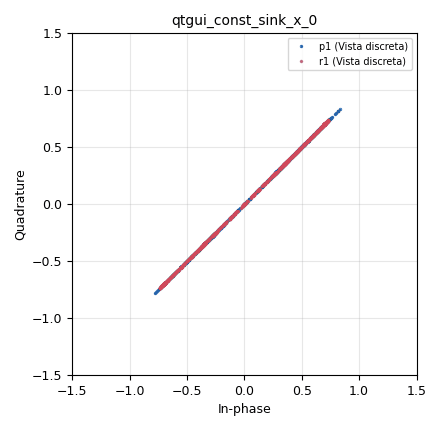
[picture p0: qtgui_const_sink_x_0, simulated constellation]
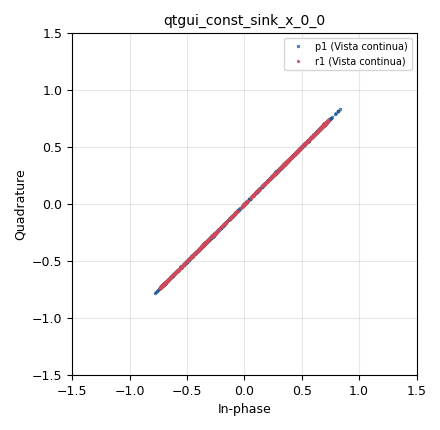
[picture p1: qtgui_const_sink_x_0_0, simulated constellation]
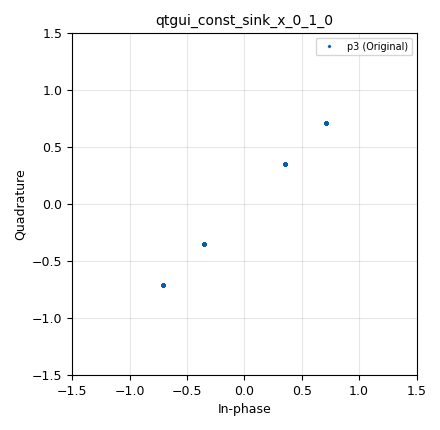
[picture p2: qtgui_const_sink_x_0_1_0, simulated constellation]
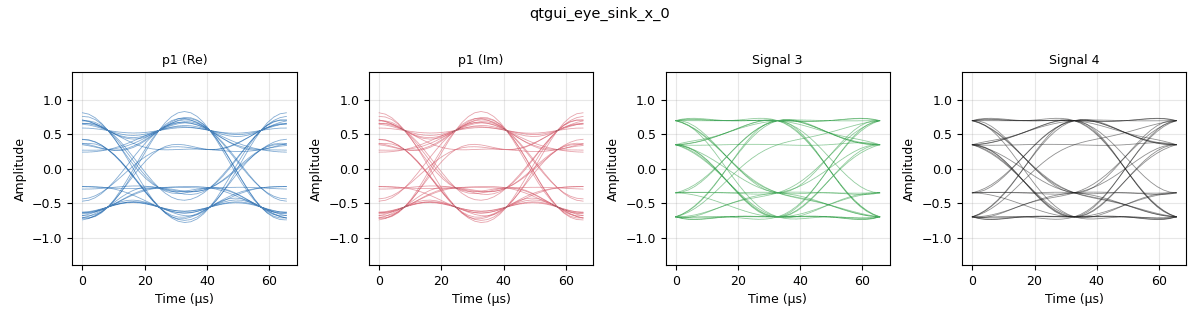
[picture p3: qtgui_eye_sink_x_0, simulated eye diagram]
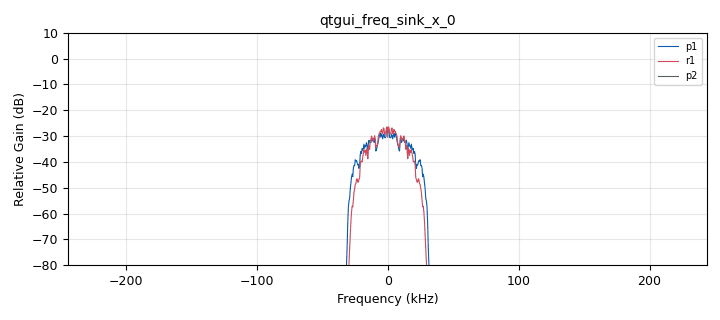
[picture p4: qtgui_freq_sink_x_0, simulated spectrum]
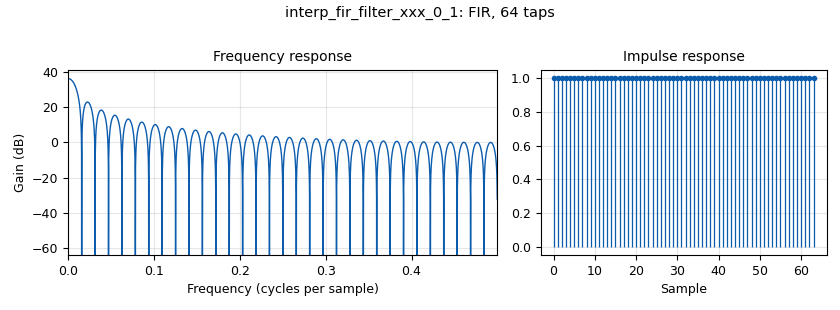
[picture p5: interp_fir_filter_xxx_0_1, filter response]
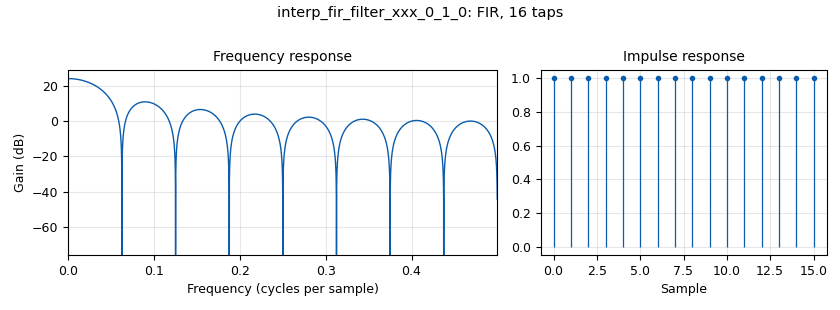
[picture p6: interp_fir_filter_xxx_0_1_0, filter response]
options:
  parameters:
    author: Homero Ortega Boada
    description: Lo máximo para practicar el tema de Filtro Coseno Alzado
    generate_options: qt_gui
    id: waveforming_practice
    output_language: python
    title: waveforming_practice
  states: {}

blocks:
- name: BW_filtro
  id: variable_qtgui_range
  parameters:
    gui_hint: 0,0,1,1
    start: '0'
    step: Fmax/100
    stop: Fmax
    value: Fmax
  states: {}
- name: Delay_eye
  id: variable_qtgui_range
  parameters:
    gui_hint: 3,0,1,1
    label: Centering the Eye
    rangeType: int
    start: '0'
    step: '1'
    stop: Sps-1
    value: '0'
  states: {}
- name: Fmax
  id: variable
  parameters:
    value: samp_rate/2
  states: {}
- name: L_info
  id: variable
  parameters:
    value: len(info)
  states: {}
- name: L_info2
  id: variable
  parameters:
    value: int(L_info/bps)
  states: {}
- name: M
  id: variable
  parameters:
    value: len(constelacion )
  states: {}
- name: Pn
  id: variable_qtgui_range
  parameters:
    gui_hint: 2,0,1,1
    label: Potencia del ruido
    start: '0'
    step: 1/100
    stop: '1'
    value: '0'
  states: {}
- name: Rb
  id: variable
  parameters:
    value: '61000'
  states: {}
- name: Rs
  id: variable
  parameters:
    value: Rb/bps
  states: {}
- name: Sps
  id: variable
  parameters:
    value: '16'
  states: {}
- name: Sps_dac
  id: variable
  parameters:
    value: '64'
  states: {}
- name: Timing
  id: variable_qtgui_range
  parameters:
    gui_hint: menu@4:1,0,1,1
    label: Timing
    rangeType: int
    start: '0'
    step: '1'
    stop: Sps-1
    value: '0'
  states: {}
- name: beta
  id: variable_qtgui_range
  parameters:
    gui_hint: 1,0,1,1
    label: beta
    start: '0'
    step: 1/100
    stop: '1'
    value: '1'
  states: {}
- name: bps
  id: variable
  parameters:
    value: int(math.log(M,2))
  states: {}
- name: constelacion
  id: variable
  parameters:
    value: digital.constellation_16qam().points()
  states: {state: disabled}
- name: constelacion
  id: variable
  parameters:
    value: (r2_2+1j*r2_2, -r2_2-1j*r2_2,  r2_4+1j*r2_4, -r2_4-1j*r2_4)
  states: {}
- name: h
  id: variable
  parameters:
    value: '[1]*Sps'
  states: {state: disabled}
- name: h
  id: variable
  parameters:
    value: wform.rcos(Sps,ntaps,beta)
  states: {state: disabled}
- name: h
  id: variable
  parameters:
    value: wform.rrcos(Sps,ntaps,beta)
  states: {}
- name: info
  id: variable
  parameters:
    value: (0, 1, 1, 1, 0, 1, 0, 1, 0, 0, 1, 0)
  states: {}
- name: ntaps
  id: variable
  parameters:
    value: 16*Sps
  states: {}
- name: r2_2
  id: variable
  parameters:
    value: math.sqrt(2)/2
  states: {}
- name: r2_4
  id: variable
  parameters:
    value: math.sqrt(2)/4
  states: {}
- name: retardo_propag
  id: variable_qtgui_range
  parameters:
    gui_hint: menu@4:0,0,1,1
    label: retardo_propag
    rangeType: int
    start: '0'
    step: '1'
    stop: Sps*ntaps
    value: Sps
  states: {}
- name: samp_rate
  id: variable
  parameters:
    value: Rs*Sps
  states: {}
- name: samp_rate_dac
  id: variable
  parameters:
    value: Rs*Sps_dac
  states: {}
- name: analog_agc3_xx_0
  id: analog_agc3_xx
  parameters:
    attack_rate: '1e-3'
    decay_rate: '1e-4'
    gain: '1.0'
    iir_update_decim: '1'
    max_gain: '65536'
    reference: '1.0'
    type: complex
  states: {}
- name: analog_noise_source_x_0
  id: analog_noise_source_x
  parameters:
    amp: math.sqrt(Pn)
    noise_type: analog.GR_GAUSSIAN
    seed: '0'
    type: complex
  states: {}
- name: analog_random_source_x_0
  id: analog_random_source_x
  parameters:
    max: '2'
    min: '0'
    num_samps: '1000'
    repeat: 'True'
    type: byte
  states: {}
- name: b_demod_constelacion_cb_0
  id: b_demod_constelacion_cb
  parameters:
    Constelacion: constelacion
  states: {}
- name: b_diez_cc_0
  id: b_diez_cc
  parameters:
    M: Timing
    N: Sps
  states: {}
- name: b_upconverter_cf_0
  id: b_upconverter_cf
  parameters:
    Fc: Rs*2
    samp_rate: samp_rate_dac
  states: {}
- name: blocks_add_xx_0
  id: blocks_add_xx
  parameters:
    type: complex
  states: {}
- name: blocks_char_to_float_0
  id: blocks_char_to_float
  parameters:
    scale: '1'
  states: {}
- name: blocks_char_to_float_0_0
  id: blocks_char_to_float
  parameters:
    scale: '1'
  states: {}
- name: blocks_char_to_float_0_0_0
  id: blocks_char_to_float
  parameters:
    scale: '1'
  states: {}
- name: blocks_char_to_float_0_1
  id: blocks_char_to_float
  parameters:
    scale: '1'
  states: {}
- name: blocks_char_to_float_1
  id: blocks_char_to_float
  parameters:
    scale: '1'
  states: {}
- name: blocks_complex_to_float_0_0
  id: blocks_complex_to_float
  parameters: {}
  states: {}
- name: blocks_complex_to_float_1
  id: blocks_complex_to_float
  parameters: {}
  states: {}
- name: blocks_complex_to_float_1_0
  id: blocks_complex_to_float
  parameters: {}
  states: {}
- name: blocks_delay_0
  id: blocks_delay
  parameters:
    delay: Delay_eye
    num_ports: '2'
    type: complex
  states: {}
- name: blocks_delay_0_0
  id: blocks_delay
  parameters:
    delay: '46'
    type: complex
  states: {}
- name: blocks_delay_1_0
  id: blocks_delay
  parameters:
    delay: retardo_propag
    type: complex
  states: {}
- name: blocks_delay_1_0_0
  id: blocks_delay
  parameters:
    delay: retardo_propag
    type: byte
  states: {}
- name: blocks_delay_1_0_0_0
  id: blocks_delay
  parameters:
    delay: retardo_propag*bps
    type: byte
  states: {}
- name: blocks_multiply_const_vxx_0
  id: blocks_multiply_const_vxx
  parameters:
    const: 1/(Sps/1.6)
    type: complex
  states: {}
- name: blocks_pack_k_bits_bb_0
  id: blocks_pack_k_bits_bb
  parameters:
    k: '8'
  states: {}
- name: blocks_packed_to_unpacked_xx_0
  id: blocks_packed_to_unpacked_xx
  parameters:
    bits_per_chunk: bps
    endianness: gr.GR_MSB_FIRST
    type: byte
  states: {}
- name: blocks_throttle_0
  id: blocks_throttle
  parameters:
    samples_per_second: samp_rate
    type: complex
  states: {}
- name: blocks_unpack_k_bits_bb_0
  id: blocks_unpack_k_bits_bb
  parameters:
    k: '8'
  states: {}
- name: blocks_unpacked_to_packed_xx_0
  id: blocks_unpacked_to_packed_xx
  parameters:
    bits_per_chunk: bps
    endianness: gr.GR_MSB_FIRST
    type: byte
  states: {}
- name: blocks_vector_source_x_0
  id: blocks_vector_source_x
  parameters:
    repeat: 'True'
    type: byte
    vector: info
  states: {state: disabled}
- name: digital_chunks_to_symbols_xx_0
  id: digital_chunks_to_symbols_xx
  parameters:
    dimension: '1'
    in_type: byte
    out_type: complex
    symbol_table: constelacion
  states: {}
- name: epy_block_0
  id: epy_block
  parameters:
    _source_code: |
      import numpy as np
      from gnuradio import gr

      class inversedB(gr.sync_block):  

          def __init__(self, ): 
              gr.sync_block.__init__(
                  self,
                  name='e_inversedB_ff',
                  in_sig=[np.float32],
                  out_sig=[np.float32]
              )

          def work(self, input_items, output_items):
              x=input_items[0]
              y=output_items[0]
              y[:]=np.power(10,x)
              return len(y)
  states: {}
- name: fec_ber_bf_0
  id: fec_ber_bf
  parameters:
    test_mode: 'False'
  states: {}
- name: import_0
  id: import
  parameters:
    imports: import math
  states: {}
- name: import_0_0
  id: import
  parameters:
    imports: import random
  states: {}
- name: interp_fir_filter_xxx_0
  id: interp_fir_filter_xxx
  parameters:
    interp: Sps
    taps: h
    type: ccf
  states: {}
- name: interp_fir_filter_xxx_0_0
  id: interp_fir_filter_xxx
  parameters:
    interp: '1'
    taps: h
    type: ccf
  states: {}
- name: interp_fir_filter_xxx_0_1
  id: interp_fir_filter_xxx
  parameters:
    interp: Sps_dac
    taps: '[1]*Sps_dac'
    type: ccf
  states: {}
- name: interp_fir_filter_xxx_0_1_0
  id: interp_fir_filter_xxx
  parameters:
    interp: Sps
    taps: '[1]*Sps'
    type: ccf
  states: {}
- name: menu
  id: qtgui_tab_widget
  parameters:
    gui_hint: 4,0,1,1
    label0: Time
    label1: PSD
    label2: Eye Diagram
    label3: Constellation
    label4: Timing
    label5: M-PAM
    label6: Bits
    label7: Rect_RF
    label8: Rect_Time
    label9: Mod_Time
    num_tabs: '10'
  states: {}
- name: qtgui_const_sink_x_0
  id: qtgui_const_sink_x
  parameters:
    gui_hint: menu@3:0,0,1,1
    label1: p1 (Vista discreta)
    label2: r1 (Vista discreta)
    nconnections: '2'
    size: '1024'
    type: complex
    xmax: '1.5'
    xmin: '-1.5'
    ymax: '1.5'
    ymin: '-1.5'
  states: {}
- name: qtgui_const_sink_x_0_0
  id: qtgui_const_sink_x
  parameters:
    color1: '"magenta"'
    gui_hint: menu@3:0,1,1,1
    label1: p1 (Vista continua)
    label2: r1 (Vista continua)
    marker1: '-1'
    marker2: '-1'
    nconnections: '2'
    size: '1024'
    style1: '1'
    style2: '1'
    type: complex
    width1: '3'
    xmax: '1.5'
    xmin: '-1.5'
    ymax: '1.5'
    ymin: '-1.5'
  states: {}
- name: qtgui_const_sink_x_0_1
  id: qtgui_const_sink_x
  parameters:
    gui_hint: menu@3:1,0,1,1
    label1: p2 (Ruido)
    size: '1024'
    type: complex
    xmax: '0.5'
    xmin: '-0.5'
    ymax: '0.5'
    ymin: '-0.5'
  states: {}
- name: qtgui_const_sink_x_0_1_0
  id: qtgui_const_sink_x
  parameters:
    gui_hint: menu@3:1,1,1,1
    label1: p3 (Original)
    size: '1024'
    type: complex
    xmax: '1.5'
    xmin: '-1.5'
    ymax: '1.5'
    ymin: '-1.5'
  states: {}
- name: qtgui_const_sink_x_1
  id: qtgui_const_sink_x
  parameters:
    gui_hint: menu@4:2,0,1,1
    size: '1024'
    type: complex
  states: {}
- name: qtgui_eye_sink_x_0
  id: qtgui_eye_sink_x
  parameters:
    gui_hint: menu@2:1,0,1,1
    label1: p1 (Re)
    label2: p1 (Im)
    nconnections: '2'
    samp_per_symbol: Sps
    size: '1024'
    srate: samp_rate
    type: complex
    width1: '4'
    width2: '4'
    ymax: '1.4'
    ymin: '-1.4'
  states: {}
- name: qtgui_freq_sink_x_0
  id: qtgui_freq_sink_x
  parameters:
    average: '0.05'
    bw: samp_rate
    fc: '0'
    fftsize: '1024'
    gui_hint: menu@1:2,0,1,1
    label1: p1
    label2: r1
    label3: p2
    nconnections: '3'
    type: complex
    width1: '3'
    width2: '3'
    ymin: '-80'
  states: {}
- name: qtgui_freq_sink_x_0_0
  id: qtgui_freq_sink_x
  parameters:
    average: '0.05'
    bw: samp_rate
    fc: '0'
    fftsize: '1024'
    gui_hint: menu@1:1,0,1,1
    label1: Ruido
    type: complex
    width1: '3'
    ymin: '-80'
  states: {state: disabled}
- name: qtgui_freq_sink_x_0_1
  id: qtgui_freq_sink_x
  parameters:
    average: '0.05'
    bw: Rb
    fc: '0'
    fftsize: '1024'
    gui_hint: menu@1:0,0,1,1
    label1: p1
    name: '"PSD en t5"'
    type: float
    width1: '3'
    ymin: '-80'
  states: {}
- name: qtgui_number_sink_0
  id: qtgui_number_sink
  parameters:
    graph_type: qtgui.NUM_GRAPH_HORIZ
    gui_hint: menu@6:1,0,1,1
    name: BER
    type: float
  states: {}
- name: qtgui_time_sink_x_0
  id: qtgui_time_sink_x
  parameters:
    color2: green
    gui_hint: menu@0:1,0,1,1
    label1: r1 (Re)
    label2: r1 (Re)
    nconnections: '2'
    size: L_info2*Sps
    srate: samp_rate
    type: float
    width1: '3'
    width2: '3'
    ymax: '1.5'
    ymin: '-1.5'
  states: {}
- name: qtgui_time_sink_x_0_0
  id: qtgui_time_sink_x
  parameters:
    color1: red
    color2: magenta
    gui_hint: menu@0:2,0,1,1
    label1: r1 (Im)
    label2: r1 (Im)
    nconnections: '2'
    size: L_info2*Sps
    srate: samp_rate
    type: float
    width1: '3'
    width2: '3'
    ymax: '1.5'
    ymin: '-1.5'
  states: {}
- name: qtgui_time_sink_x_1
  id: qtgui_time_sink_x
  parameters:
    color3: magenta
    gui_hint: menu@4:3,0,1,2
    label1: t3 (RE)
    label2: t3 (Im)
    label3: r3 (Re)
    label4: r3 (Im)
    marker1: '0'
    marker2: '0'
    marker3: '0'
    marker4: '0'
    nconnections: '2'
    size: L_info2
    srate: Rs
    stemplot: 'True'
    type: complex
    width1: '3'
    width2: '3'
    width3: '3'
    width4: '3'
    ymax: '1.5'
    ymin: '-1.5'
  states: {}
- name: qtgui_time_sink_x_2
  id: qtgui_time_sink_x
  parameters:
    gui_hint: menu@5:4,0,1,1
    label1: t4
    label2: r4
    marker1: '0'
    marker2: '0'
    nconnections: '2'
    size: L_info
    srate: Rs
    stemplot: 'True'
    type: float
    width1: '3'
    width2: '3'
    ymax: M
  states: {}
- name: qtgui_time_sink_x_2_0
  id: qtgui_time_sink_x
  parameters:
    gui_hint: menu@6:4,0,1,1
    label1: t4
    label2: r4
    marker1: '0'
    marker2: '0'
    nconnections: '2'
    size: L_info
    srate: Rb
    stemplot: 'True'
    type: float
    width1: '3'
    width2: '3'
    ymax: '1.5'
    ymin: '-0.5'
  states: {}
- name: qtgui_time_sink_x_3
  id: qtgui_time_sink_x
  parameters:
    gui_hint: menu@7:2,0,1,1
    size: L_info2*Sps_dac
    srate: samp_rate_dac
    type: float
    width1: '3'
    ymax: '1.5'
    ymin: '-1.5'
  states: {}
- name: qtgui_time_sink_x_3_0
  id: qtgui_time_sink_x
  parameters:
    gui_hint: menu@8:2,0,1,1
    label1: Re
    size: L_info2*Sps
    srate: samp_rate
    type: float
    width1: '3'
    ymax: '1.5'
    ymin: '-1.5'
  states: {}
- name: qtgui_time_sink_x_3_0_0
  id: qtgui_time_sink_x
  parameters:
    color1: red
    gui_hint: menu@8:3,0,1,1
    label1: Im
    size: L_info2*Sps
    srate: samp_rate
    type: float
    width1: '3'
    ymax: '1.5'
    ymin: '-1.5'
  states: {}
- name: qtgui_time_sink_x_3_0_0_0
  id: qtgui_time_sink_x
  parameters:
    color1: red
    gui_hint: menu@9:3,0,1,1
    label1: Im
    marker1: '0'
    size: L_info2
    srate: Rs
    stemplot: 'True'
    type: float
    width1: '3'
    ymax: '1.5'
    ymin: '-1.5'
  states: {}
- name: qtgui_time_sink_x_3_0_1
  id: qtgui_time_sink_x
  parameters:
    gui_hint: menu@9:2,0,1,1
    label1: Re
    marker1: '0'
    size: L_info2
    srate: Rs
    stemplot: 'True'
    type: float
    width1: '3'
    ymax: '1.5'
    ymin: '-1.5'
  states: {}
- name: virtual_sink_0
  id: virtual_sink
  parameters:
    stream_id: p1
  states: {}
- name: virtual_sink_0_0
  id: virtual_sink
  parameters:
    stream_id: p2
  states: {}
- name: virtual_sink_0_0_0
  id: virtual_sink
  parameters:
    stream_id: t3
  states: {}
- name: virtual_sink_0_0_0_0
  id: virtual_sink
  parameters:
    stream_id: r3
  states: {}
- name: virtual_sink_0_0_0_0_0
  id: virtual_sink
  parameters:
    stream_id: r4
  states: {}
- name: virtual_sink_0_0_0_0_0_0
  id: virtual_sink
  parameters:
    stream_id: r5
  states: {}
- name: virtual_sink_0_0_0_1
  id: virtual_sink
  parameters:
    stream_id: t4
  states: {}
- name: virtual_sink_0_0_0_1_0
  id: virtual_sink
  parameters:
    stream_id: t5
  states: {}
- name: virtual_sink_0_1
  id: virtual_sink
  parameters:
    stream_id: r1
  states: {}
- name: virtual_source_0
  id: virtual_source
  parameters:
    stream_id: p1
  states: {}
- name: virtual_source_0_0
  id: virtual_source
  parameters:
    stream_id: p2
  states: {}
- name: virtual_source_0_0_0
  id: virtual_source
  parameters:
    stream_id: t3
  states: {}
- name: virtual_source_0_0_0_0
  id: virtual_source
  parameters:
    stream_id: t4
  states: {}
- name: virtual_source_0_0_0_0_0
  id: virtual_source
  parameters:
    stream_id: r4
  states: {}
- name: virtual_source_0_0_0_0_0_0
  id: virtual_source
  parameters:
    stream_id: r5
  states: {}
- name: virtual_source_0_0_0_0_1
  id: virtual_source
  parameters:
    stream_id: t5
  states: {}
- name: virtual_source_0_1
  id: virtual_source
  parameters:
    stream_id: r1
  states: {}
- name: virtual_source_0_1_0
  id: virtual_source
  parameters:
    stream_id: t3
  states: {}
- name: virtual_source_0_1_0_0
  id: virtual_source
  parameters:
    stream_id: r3
  states: {}
- name: virtual_source_0_2
  id: virtual_source
  parameters:
    stream_id: t3
  states: {}
- name: virtual_source_0_2_0
  id: virtual_source
  parameters:
    stream_id: t3
  states: {}
- name: wform
  id: epy_module
  parameters:
    source_code: |
      import math
      import numpy
      #######################################################
      ##        Hecho por Homero Ortega Boada              ##
      ##        comdiguis@saber.uis.edu.co                 ##
      ##     Universidad Industrial de Santander           ##
      #######################################################

      #######################################################
      ##               Forma rectangular                   ##
      #######################################################                       
      def rect(Sps):
          return Sps*[1.,]

      #######################################################
      ##               Forma de Nyquist                    ##
      #######################################################                       
      def nyq(Sps,ntaps):
          n=numpy.linspace(-int(ntaps/2), int(ntaps/2-1),ntaps)
          h=numpy.sinc(n/Sps)
      #    return h/numpy.amax(h)
          return h
      #######################################################
      ##               Forma Coseno Alzado                 ##
      #######################################################                       
      def rcos(Sps,ntaps,beta):
          if beta==0:
              h=nyq(Sps,ntaps)
          else:
              h=ntaps*[0,]
              for n in range(ntaps):
                  k=n-ntaps/2. # esto es para que h[n] quede centrada en la mitad del vector
                  if abs(k)==Sps/(2.*beta):
                      h[n]=numpy.sinc(1./(2.*beta))*math.pi/4.
                  else:
                      h[n]=numpy.sinc(k/Sps)*math.cos(beta*k*math.pi/Sps)/(1.-(2.*beta*k/Sps)**2)                
          Amp=numpy.amax(h)
          return h/Amp
      #######################################################
      ##            Forma Raiz de Coseno Alzado            ##
      #######################################################                       

      def rrcos(Sps,ntaps,beta):
          if beta==0:
              h=nyq(Sps,ntaps)
          else:
              h=ntaps*[0,]
              beta4=4.*beta
              for n in range(ntaps):
                  k=n-ntaps/2. # esto es para que h[n] quede centrada en la mitad del vector
                  if k==0:
                      h[n]=1+beta*(4./math.pi-1.)
                  elif abs(k)==Sps/beta4:
                      ha=(1.+2./math.pi)*math.sin(math.pi/beta4)
                      hb=(1.-2./math.pi)*math.cos(math.pi/beta4)
                      h[n]=(ha+hb)*beta/math.sqrt(2.)
                  else:
                      ks=k/Sps
                      kspi=math.pi*ks
                      Num=math.sin(kspi*(1-beta))+beta4*ks*math.cos(kspi*(1+beta))
                      Den=kspi*(1.-(beta4*ks)**2)
                      h[n]=Num/Den                
          Amp=numpy.amax(h)
          return h/Amp
      ########################################################
      ##     Bipolar non return to zero level signal        ##
      ########################################################
      def B_NRZ_L(Sps):
          return Sps*[1.,]

      ########################################################
      ##  Forma sinc . Es la misma nyq() que aparece arriba ##
      ########################################################
      def sinc(Sps,ntaps):
          n=np.linspace(-int(ntaps/2), int(ntaps/2-1),ntaps)
          h=np.sinc(n/Sps)
          return h
      ########################################################
      ##              forma diente se sierra                ##
      ########################################################
      def saw(Sps):
          return np.linspace(0,Sps-1,Sps)	
      ########################################################
      #         Bipolar non return to zero signal           ##
      ########################################################
      def RZ(Sps):
          h=Sps*[1.,]
          Sps_m=int(Sps/2)
          h[Sps_m+1:Sps:1]=np.zeros(Sps-Sps_m)
          return h
  states: {}

connections:
- [analog_agc3_xx_0, '0', b_demod_constelacion_cb_0, '0']
- [analog_agc3_xx_0, '0', virtual_sink_0_0_0_0, '0']
- [analog_noise_source_x_0, '0', blocks_add_xx_0, '0']
- [analog_noise_source_x_0, '0', virtual_sink_0_0, '0']
- [analog_random_source_x_0, '0', blocks_pack_k_bits_bb_0, '0']
- [analog_random_source_x_0, '0', virtual_sink_0_0_0_1_0, '0']
- [b_demod_constelacion_cb_0, '0', blocks_unpacked_to_packed_xx_0, '0']
- [b_demod_constelacion_cb_0, '0', virtual_sink_0_0_0_0_0, '0']
- [b_diez_cc_0, '0', analog_agc3_xx_0, '0']
- [b_upconverter_cf_0, '0', qtgui_time_sink_x_3, '0']
- [blocks_add_xx_0, '0', interp_fir_filter_xxx_0_0, '0']
- [blocks_add_xx_0, '0', virtual_sink_0, '0']
- [blocks_char_to_float_0, '0', qtgui_time_sink_x_2, '0']
- [blocks_char_to_float_0_0, '0', qtgui_time_sink_x_2, '1']
- [blocks_char_to_float_0_0_0, '0', qtgui_time_sink_x_2_0, '1']
- [blocks_char_to_float_0_1, '0', qtgui_time_sink_x_2_0, '0']
- [blocks_char_to_float_1, '0', qtgui_freq_sink_x_0_1, '0']
- [blocks_complex_to_float_0_0, '0', qtgui_time_sink_x_0, '0']
- [blocks_complex_to_float_0_0, '1', qtgui_time_sink_x_0_0, '0']
- [blocks_complex_to_float_1, '0', qtgui_time_sink_x_0, '1']
- [blocks_complex_to_float_1, '0', qtgui_time_sink_x_3_0, '0']
- [blocks_complex_to_float_1, '1', qtgui_time_sink_x_0_0, '1']
- [blocks_complex_to_float_1, '1', qtgui_time_sink_x_3_0_0, '0']
- [blocks_complex_to_float_1_0, '0', qtgui_time_sink_x_3_0_1, '0']
- [blocks_complex_to_float_1_0, '1', qtgui_time_sink_x_3_0_0_0, '0']
- [blocks_delay_0, '0', qtgui_eye_sink_x_0, '0']
- [blocks_delay_0, '1', qtgui_eye_sink_x_0, '1']
- [blocks_delay_0_0, '0', blocks_complex_to_float_0_0, '0']
- [blocks_delay_1_0, '0', qtgui_time_sink_x_1, '0']
- [blocks_delay_1_0_0, '0', blocks_char_to_float_0, '0']
- [blocks_delay_1_0_0_0, '0', blocks_char_to_float_0_1, '0']
- [blocks_delay_1_0_0_0, '0', fec_ber_bf_0, '0']
- [blocks_multiply_const_vxx_0, '0', b_diez_cc_0, '0']
- [blocks_multiply_const_vxx_0, '0', virtual_sink_0_1, '0']
- [blocks_pack_k_bits_bb_0, '0', blocks_packed_to_unpacked_xx_0, '0']
- [blocks_packed_to_unpacked_xx_0, '0', digital_chunks_to_symbols_xx_0, '0']
- [blocks_packed_to_unpacked_xx_0, '0', virtual_sink_0_0_0_1, '0']
- [blocks_throttle_0, '0', blocks_add_xx_0, '1']
- [blocks_unpack_k_bits_bb_0, '0', virtual_sink_0_0_0_0_0_0, '0']
- [blocks_unpacked_to_packed_xx_0, '0', blocks_unpack_k_bits_bb_0, '0']
- [blocks_vector_source_x_0, '0', blocks_pack_k_bits_bb_0, '0']
- [blocks_vector_source_x_0, '0', virtual_sink_0_0_0_1_0, '0']
- [digital_chunks_to_symbols_xx_0, '0', interp_fir_filter_xxx_0, '0']
- [digital_chunks_to_symbols_xx_0, '0', virtual_sink_0_0_0, '0']
- [epy_block_0, '0', qtgui_number_sink_0, '0']
- [fec_ber_bf_0, '0', epy_block_0, '0']
- [interp_fir_filter_xxx_0, '0', blocks_throttle_0, '0']
- [interp_fir_filter_xxx_0_0, '0', blocks_multiply_const_vxx_0, '0']
- [interp_fir_filter_xxx_0_1, '0', b_upconverter_cf_0, '0']
- [interp_fir_filter_xxx_0_1_0, '0', blocks_complex_to_float_1, '0']
- [virtual_source_0, '0', blocks_delay_0, '0']
- [virtual_source_0, '0', qtgui_const_sink_x_0, '0']
- [virtual_source_0, '0', qtgui_const_sink_x_0_0, '0']
- [virtual_source_0, '0', qtgui_freq_sink_x_0, '0']
- [virtual_source_0_0, '0', qtgui_const_sink_x_0_1, '0']
- [virtual_source_0_0, '0', qtgui_freq_sink_x_0, '2']
- [virtual_source_0_0, '0', qtgui_freq_sink_x_0_0, '0']
- [virtual_source_0_0_0, '0', qtgui_const_sink_x_0_1_0, '0']
- [virtual_source_0_0_0_0, '0', blocks_delay_1_0_0, '0']
- [virtual_source_0_0_0_0_0, '0', blocks_char_to_float_0_0, '0']
- [virtual_source_0_0_0_0_0_0, '0', blocks_char_to_float_0_0_0, '0']
- [virtual_source_0_0_0_0_0_0, '0', fec_ber_bf_0, '1']
- [virtual_source_0_0_0_0_1, '0', blocks_char_to_float_1, '0']
- [virtual_source_0_0_0_0_1, '0', blocks_delay_1_0_0_0, '0']
- [virtual_source_0_1, '0', blocks_delay_0, '1']
- [virtual_source_0_1, '0', blocks_delay_0_0, '0']
- [virtual_source_0_1, '0', qtgui_const_sink_x_0, '1']
- [virtual_source_0_1, '0', qtgui_const_sink_x_0_0, '1']
- [virtual_source_0_1, '0', qtgui_freq_sink_x_0, '1']
- [virtual_source_0_1_0, '0', blocks_delay_1_0, '0']
- [virtual_source_0_1_0_0, '0', qtgui_const_sink_x_1, '0']
- [virtual_source_0_1_0_0, '0', qtgui_time_sink_x_1, '1']
- [virtual_source_0_2, '0', interp_fir_filter_xxx_0_1, '0']
- [virtual_source_0_2, '0', interp_fir_filter_xxx_0_1_0, '0']
- [virtual_source_0_2_0, '0', blocks_complex_to_float_1_0, '0']

metadata:
  file_format: 1
